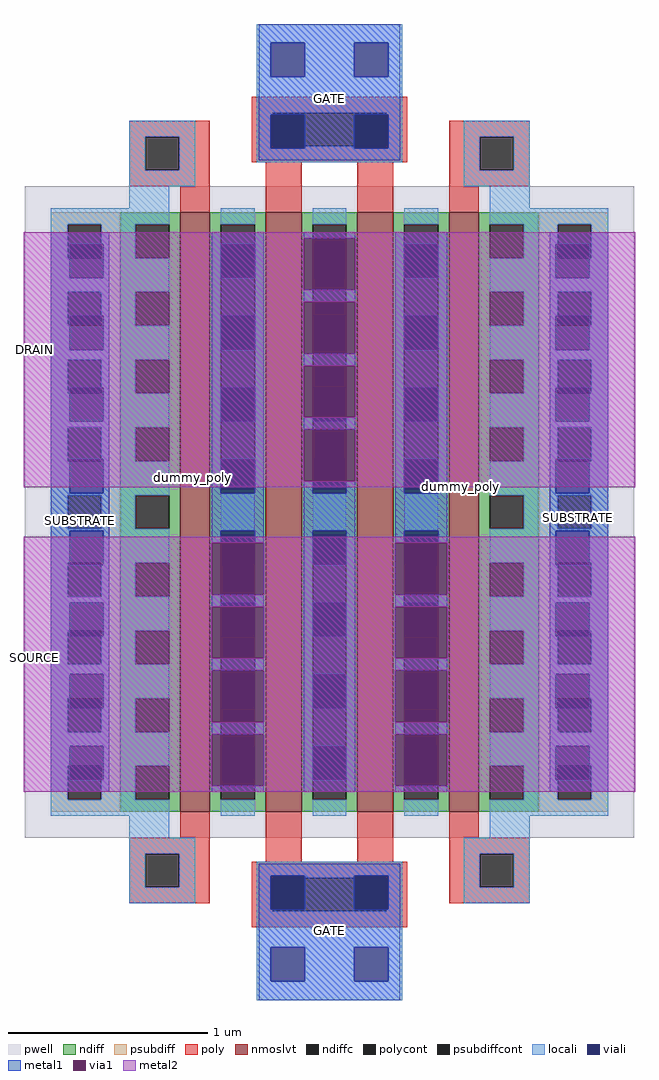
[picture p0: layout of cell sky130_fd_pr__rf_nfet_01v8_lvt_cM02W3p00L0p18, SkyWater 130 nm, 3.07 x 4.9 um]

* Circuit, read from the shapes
.subckt sky130_fd_pr__rf_nfet_01v8_lvt_cM02W3p00L0p18 GATE SUBSTRATE SOURCE DRAIN
XM1 SOURCE SUBSTRATE SUBSTRATE SUBSTRATE sky130_fd_pr__nfet_01v8_lvt w=3.01 l=0.15 m=2
XM2 DRAIN GATE SOURCE SUBSTRATE sky130_fd_pr__nfet_01v8_lvt w=3.01 l=0.18 m=2
.ends

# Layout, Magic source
magic
tech sky130A
magscale 1 2
<< pwell >>
rect 15 163 627 817
<< nmoslvt >>
rect 171 189 201 791
rect 257 189 293 791
rect 349 189 385 791
rect 441 189 471 791
<< ndiff >>
rect 111 779 171 791
rect 111 745 126 779
rect 160 745 171 779
rect 111 711 171 745
rect 111 677 126 711
rect 160 677 171 711
rect 111 643 171 677
rect 111 609 126 643
rect 160 609 171 643
rect 111 575 171 609
rect 111 541 126 575
rect 160 541 171 575
rect 111 507 171 541
rect 111 473 126 507
rect 160 473 171 507
rect 111 439 171 473
rect 111 405 126 439
rect 160 405 171 439
rect 111 371 171 405
rect 111 337 126 371
rect 160 337 171 371
rect 111 303 171 337
rect 111 269 126 303
rect 160 269 171 303
rect 111 235 171 269
rect 111 201 126 235
rect 160 201 171 235
rect 111 189 171 201
rect 201 779 257 791
rect 201 513 212 779
rect 246 513 257 779
rect 201 467 257 513
rect 201 201 212 467
rect 246 201 257 467
rect 201 189 257 201
rect 293 779 349 791
rect 293 513 304 779
rect 338 513 349 779
rect 293 467 349 513
rect 293 201 304 467
rect 338 201 349 467
rect 293 189 349 201
rect 385 779 441 791
rect 385 513 396 779
rect 430 513 441 779
rect 385 467 441 513
rect 385 201 396 467
rect 430 201 441 467
rect 385 189 441 201
rect 471 779 531 791
rect 471 745 482 779
rect 516 745 531 779
rect 471 711 531 745
rect 471 677 482 711
rect 516 677 531 711
rect 471 643 531 677
rect 471 609 482 643
rect 516 609 531 643
rect 471 575 531 609
rect 471 541 482 575
rect 516 541 531 575
rect 471 507 531 541
rect 471 473 482 507
rect 516 473 531 507
rect 471 439 531 473
rect 471 405 482 439
rect 516 405 531 439
rect 471 371 531 405
rect 471 337 482 371
rect 516 337 531 371
rect 471 303 531 337
rect 471 269 482 303
rect 516 269 531 303
rect 471 235 531 269
rect 471 201 482 235
rect 516 201 531 235
rect 471 189 531 201
<< ndiffc >>
rect 126 745 160 779
rect 126 677 160 711
rect 126 609 160 643
rect 126 541 160 575
rect 126 473 160 507
rect 126 405 160 439
rect 126 337 160 371
rect 126 269 160 303
rect 126 201 160 235
rect 212 513 246 779
rect 212 201 246 467
rect 304 513 338 779
rect 304 201 338 467
rect 396 513 430 779
rect 396 201 430 467
rect 482 745 516 779
rect 482 677 516 711
rect 482 609 516 643
rect 482 541 516 575
rect 482 473 516 507
rect 482 405 516 439
rect 482 337 516 371
rect 482 269 516 303
rect 482 201 516 235
<< psubdiff >>
rect 41 779 111 791
rect 41 745 58 779
rect 92 745 111 779
rect 41 711 111 745
rect 41 677 58 711
rect 92 677 111 711
rect 41 643 111 677
rect 41 609 58 643
rect 92 609 111 643
rect 41 575 111 609
rect 41 541 58 575
rect 92 541 111 575
rect 41 507 111 541
rect 41 473 58 507
rect 92 473 111 507
rect 41 439 111 473
rect 41 405 58 439
rect 92 405 111 439
rect 41 371 111 405
rect 41 337 58 371
rect 92 337 111 371
rect 41 303 111 337
rect 41 269 58 303
rect 92 269 111 303
rect 41 235 111 269
rect 41 201 58 235
rect 92 201 111 235
rect 41 189 111 201
rect 531 779 601 791
rect 531 745 550 779
rect 584 745 601 779
rect 531 711 601 745
rect 531 677 550 711
rect 584 677 601 711
rect 531 643 601 677
rect 531 609 550 643
rect 584 609 601 643
rect 531 575 601 609
rect 531 541 550 575
rect 584 541 601 575
rect 531 507 601 541
rect 531 473 550 507
rect 584 473 601 507
rect 531 439 601 473
rect 531 405 550 439
rect 584 405 601 439
rect 531 371 601 405
rect 531 337 550 371
rect 584 337 601 371
rect 531 303 601 337
rect 531 269 550 303
rect 584 269 601 303
rect 531 235 601 269
rect 531 201 550 235
rect 584 201 601 235
rect 531 189 601 201
<< psubdiffcont >>
rect 58 745 92 779
rect 58 677 92 711
rect 58 609 92 643
rect 58 541 92 575
rect 58 473 92 507
rect 58 405 92 439
rect 58 337 92 371
rect 58 269 92 303
rect 58 201 92 235
rect 550 745 584 779
rect 550 677 584 711
rect 550 609 584 643
rect 550 541 584 575
rect 550 473 584 507
rect 550 405 584 439
rect 550 337 584 371
rect 550 269 584 303
rect 550 201 584 235
<< poly >>
rect 243 891 399 907
rect 120 867 201 883
rect 120 833 136 867
rect 170 833 201 867
rect 243 857 264 891
rect 378 857 399 891
rect 243 841 399 857
rect 441 867 522 883
rect 120 817 201 833
rect 171 791 201 817
rect 257 791 293 841
rect 349 791 385 841
rect 441 833 472 867
rect 506 833 522 867
rect 441 817 522 833
rect 441 791 471 817
rect 171 163 201 189
rect 120 147 201 163
rect 120 113 136 147
rect 170 113 201 147
rect 257 139 293 189
rect 349 139 385 189
rect 441 163 471 189
rect 441 147 522 163
rect 120 97 201 113
rect 243 123 399 139
rect 243 89 264 123
rect 378 89 399 123
rect 441 113 472 147
rect 506 113 522 147
rect 441 97 522 113
rect 243 73 399 89
<< polycont >>
rect 136 833 170 867
rect 264 857 378 891
rect 472 833 506 867
rect 136 113 170 147
rect 264 89 378 123
rect 472 113 506 147
<< locali >>
rect 248 961 394 980
rect 248 927 262 961
rect 296 927 346 961
rect 380 927 394 961
rect 248 891 394 927
rect 248 889 264 891
rect 378 889 394 891
rect 120 867 186 883
rect 120 833 136 867
rect 170 833 186 867
rect 248 855 262 889
rect 296 855 346 857
rect 380 855 394 889
rect 248 841 394 855
rect 456 867 522 883
rect 120 817 186 833
rect 456 833 472 867
rect 506 833 522 867
rect 456 817 522 833
rect 120 795 160 817
rect 482 795 522 817
rect 41 779 160 795
rect 41 745 58 779
rect 92 759 126 779
rect 94 745 126 759
rect 41 725 60 745
rect 94 725 160 745
rect 41 711 160 725
rect 41 677 58 711
rect 92 687 126 711
rect 94 677 126 687
rect 41 653 60 677
rect 94 653 160 677
rect 41 643 160 653
rect 41 609 58 643
rect 92 615 126 643
rect 94 609 126 615
rect 41 581 60 609
rect 94 581 160 609
rect 41 575 160 581
rect 41 541 58 575
rect 92 543 126 575
rect 94 541 126 543
rect 41 509 60 541
rect 94 509 160 541
rect 41 507 160 509
rect 41 473 58 507
rect 92 473 126 507
rect 41 471 160 473
rect 41 439 60 471
rect 94 439 160 471
rect 41 405 58 439
rect 94 437 126 439
rect 92 405 126 437
rect 41 399 160 405
rect 41 371 60 399
rect 94 371 160 399
rect 41 337 58 371
rect 94 365 126 371
rect 92 337 126 365
rect 41 327 160 337
rect 41 303 60 327
rect 94 303 160 327
rect 41 269 58 303
rect 94 293 126 303
rect 92 269 126 293
rect 41 255 160 269
rect 41 235 60 255
rect 94 235 160 255
rect 41 201 58 235
rect 94 221 126 235
rect 92 201 126 221
rect 41 185 160 201
rect 212 779 246 795
rect 212 471 246 509
rect 212 185 246 201
rect 304 779 338 795
rect 304 471 338 509
rect 304 185 338 201
rect 396 779 430 795
rect 396 471 430 509
rect 396 185 430 201
rect 482 779 601 795
rect 516 759 550 779
rect 516 745 548 759
rect 584 745 601 779
rect 482 725 548 745
rect 582 725 601 745
rect 482 711 601 725
rect 516 687 550 711
rect 516 677 548 687
rect 584 677 601 711
rect 482 653 548 677
rect 582 653 601 677
rect 482 643 601 653
rect 516 615 550 643
rect 516 609 548 615
rect 584 609 601 643
rect 482 581 548 609
rect 582 581 601 609
rect 482 575 601 581
rect 516 543 550 575
rect 516 541 548 543
rect 584 541 601 575
rect 482 509 548 541
rect 582 509 601 541
rect 482 507 601 509
rect 516 473 550 507
rect 584 473 601 507
rect 482 471 601 473
rect 482 439 548 471
rect 582 439 601 471
rect 516 437 548 439
rect 516 405 550 437
rect 584 405 601 439
rect 482 399 601 405
rect 482 371 548 399
rect 582 371 601 399
rect 516 365 548 371
rect 516 337 550 365
rect 584 337 601 371
rect 482 327 601 337
rect 482 303 548 327
rect 582 303 601 327
rect 516 293 548 303
rect 516 269 550 293
rect 584 269 601 303
rect 482 255 601 269
rect 482 235 548 255
rect 582 235 601 255
rect 516 221 548 235
rect 516 201 550 221
rect 584 201 601 235
rect 482 185 601 201
rect 120 163 160 185
rect 482 163 522 185
rect 120 147 186 163
rect 120 113 136 147
rect 170 113 186 147
rect 456 147 522 163
rect 120 97 186 113
rect 248 125 394 139
rect 248 91 262 125
rect 296 123 346 125
rect 380 91 394 125
rect 456 113 472 147
rect 506 113 522 147
rect 456 97 522 113
rect 248 89 264 91
rect 378 89 394 91
rect 248 53 394 89
rect 248 19 262 53
rect 296 19 346 53
rect 380 19 394 53
rect 248 0 394 19
<< viali >>
rect 262 927 296 961
rect 346 927 380 961
rect 262 857 264 889
rect 264 857 296 889
rect 346 857 378 889
rect 378 857 380 889
rect 262 855 296 857
rect 346 855 380 857
rect 60 745 92 759
rect 92 745 94 759
rect 60 725 94 745
rect 60 677 92 687
rect 92 677 94 687
rect 60 653 94 677
rect 60 609 92 615
rect 92 609 94 615
rect 60 581 94 609
rect 60 541 92 543
rect 92 541 94 543
rect 60 509 94 541
rect 60 439 94 471
rect 60 437 92 439
rect 92 437 94 439
rect 60 371 94 399
rect 60 365 92 371
rect 92 365 94 371
rect 60 303 94 327
rect 60 293 92 303
rect 92 293 94 303
rect 60 235 94 255
rect 60 221 92 235
rect 92 221 94 235
rect 212 725 246 759
rect 212 653 246 687
rect 212 581 246 615
rect 212 513 246 543
rect 212 509 246 513
rect 212 467 246 471
rect 212 437 246 467
rect 212 365 246 399
rect 212 293 246 327
rect 212 221 246 255
rect 304 725 338 759
rect 304 653 338 687
rect 304 581 338 615
rect 304 513 338 543
rect 304 509 338 513
rect 304 467 338 471
rect 304 437 338 467
rect 304 365 338 399
rect 304 293 338 327
rect 304 221 338 255
rect 396 725 430 759
rect 396 653 430 687
rect 396 581 430 615
rect 396 513 430 543
rect 396 509 430 513
rect 396 467 430 471
rect 396 437 430 467
rect 396 365 430 399
rect 396 293 430 327
rect 396 221 430 255
rect 548 745 550 759
rect 550 745 582 759
rect 548 725 582 745
rect 548 677 550 687
rect 550 677 582 687
rect 548 653 582 677
rect 548 609 550 615
rect 550 609 582 615
rect 548 581 582 609
rect 548 541 550 543
rect 550 541 582 543
rect 548 509 582 541
rect 548 439 582 471
rect 548 437 550 439
rect 550 437 582 439
rect 548 371 582 399
rect 548 365 550 371
rect 550 365 582 371
rect 548 303 582 327
rect 548 293 550 303
rect 550 293 582 303
rect 548 235 582 255
rect 548 221 550 235
rect 550 221 582 235
rect 262 123 296 125
rect 346 123 380 125
rect 262 91 264 123
rect 264 91 296 123
rect 346 91 378 123
rect 378 91 380 123
rect 262 19 296 53
rect 346 19 380 53
<< metal1 >>
rect 250 961 392 980
rect 250 927 262 961
rect 296 927 346 961
rect 380 927 392 961
rect 250 889 392 927
rect 250 855 262 889
rect 296 855 346 889
rect 380 855 392 889
rect 250 843 392 855
rect 41 759 100 771
rect 41 725 60 759
rect 94 725 100 759
rect 41 687 100 725
rect 41 653 60 687
rect 94 653 100 687
rect 41 615 100 653
rect 41 581 60 615
rect 94 581 100 615
rect 41 543 100 581
rect 41 509 60 543
rect 94 509 100 543
rect 41 471 100 509
rect 41 437 60 471
rect 94 437 100 471
rect 41 399 100 437
rect 41 365 60 399
rect 94 365 100 399
rect 41 327 100 365
rect 41 293 60 327
rect 94 293 100 327
rect 41 255 100 293
rect 41 221 60 255
rect 94 221 100 255
rect 41 209 100 221
rect 203 759 255 771
rect 203 725 212 759
rect 246 725 255 759
rect 203 687 255 725
rect 203 653 212 687
rect 246 653 255 687
rect 203 615 255 653
rect 203 581 212 615
rect 246 581 255 615
rect 203 543 255 581
rect 203 509 212 543
rect 246 509 255 543
rect 203 471 255 509
rect 203 459 212 471
rect 246 459 255 471
rect 203 399 255 407
rect 203 395 212 399
rect 246 395 255 399
rect 203 331 255 343
rect 203 267 255 279
rect 203 209 255 215
rect 295 765 347 771
rect 295 701 347 713
rect 295 637 347 649
rect 295 581 304 585
rect 338 581 347 585
rect 295 573 347 581
rect 295 509 304 521
rect 338 509 347 521
rect 295 471 347 509
rect 295 437 304 471
rect 338 437 347 471
rect 295 399 347 437
rect 295 365 304 399
rect 338 365 347 399
rect 295 327 347 365
rect 295 293 304 327
rect 338 293 347 327
rect 295 255 347 293
rect 295 221 304 255
rect 338 221 347 255
rect 295 209 347 221
rect 387 759 439 771
rect 387 725 396 759
rect 430 725 439 759
rect 387 687 439 725
rect 387 653 396 687
rect 430 653 439 687
rect 387 615 439 653
rect 387 581 396 615
rect 430 581 439 615
rect 387 543 439 581
rect 387 509 396 543
rect 430 509 439 543
rect 387 471 439 509
rect 387 459 396 471
rect 430 459 439 471
rect 387 399 439 407
rect 387 395 396 399
rect 430 395 439 399
rect 387 331 439 343
rect 387 267 439 279
rect 387 209 439 215
rect 542 759 601 771
rect 542 725 548 759
rect 582 725 601 759
rect 542 687 601 725
rect 542 653 548 687
rect 582 653 601 687
rect 542 615 601 653
rect 542 581 548 615
rect 582 581 601 615
rect 542 543 601 581
rect 542 509 548 543
rect 582 509 601 543
rect 542 471 601 509
rect 542 437 548 471
rect 582 437 601 471
rect 542 399 601 437
rect 542 365 548 399
rect 582 365 601 399
rect 542 327 601 365
rect 542 293 548 327
rect 582 293 601 327
rect 542 255 601 293
rect 542 221 548 255
rect 582 221 601 255
rect 542 209 601 221
rect 250 125 392 137
rect 250 91 262 125
rect 296 91 346 125
rect 380 91 392 125
rect 250 53 392 91
rect 250 19 262 53
rect 296 19 346 53
rect 380 19 392 53
rect 250 0 392 19
<< via1 >>
rect 203 437 212 459
rect 212 437 246 459
rect 246 437 255 459
rect 203 407 255 437
rect 203 365 212 395
rect 212 365 246 395
rect 246 365 255 395
rect 203 343 255 365
rect 203 327 255 331
rect 203 293 212 327
rect 212 293 246 327
rect 246 293 255 327
rect 203 279 255 293
rect 203 255 255 267
rect 203 221 212 255
rect 212 221 246 255
rect 246 221 255 255
rect 203 215 255 221
rect 295 759 347 765
rect 295 725 304 759
rect 304 725 338 759
rect 338 725 347 759
rect 295 713 347 725
rect 295 687 347 701
rect 295 653 304 687
rect 304 653 338 687
rect 338 653 347 687
rect 295 649 347 653
rect 295 615 347 637
rect 295 585 304 615
rect 304 585 338 615
rect 338 585 347 615
rect 295 543 347 573
rect 295 521 304 543
rect 304 521 338 543
rect 338 521 347 543
rect 387 437 396 459
rect 396 437 430 459
rect 430 437 439 459
rect 387 407 439 437
rect 387 365 396 395
rect 396 365 430 395
rect 430 365 439 395
rect 387 343 439 365
rect 387 327 439 331
rect 387 293 396 327
rect 396 293 430 327
rect 430 293 439 327
rect 387 279 439 293
rect 387 255 439 267
rect 387 221 396 255
rect 396 221 430 255
rect 430 221 439 255
rect 387 215 439 221
<< metal2 >>
rect 14 765 628 771
rect 14 713 295 765
rect 347 713 628 765
rect 14 701 628 713
rect 14 649 295 701
rect 347 649 628 701
rect 14 637 628 649
rect 14 585 295 637
rect 347 585 628 637
rect 14 573 628 585
rect 14 521 295 573
rect 347 521 628 573
rect 14 515 628 521
rect 14 459 628 465
rect 14 407 203 459
rect 255 407 387 459
rect 439 407 628 459
rect 14 395 628 407
rect 14 343 203 395
rect 255 343 387 395
rect 439 343 628 395
rect 14 331 628 343
rect 14 279 203 331
rect 255 279 387 331
rect 439 279 628 331
rect 14 267 628 279
rect 14 215 203 267
rect 255 215 387 267
rect 439 215 628 267
rect 14 209 628 215
<< labels >>
flabel comment s 183 525 183 525 0 FreeSans 180 90 0 0 dummy_poly
flabel comment s 453 516 453 516 0 FreeSans 180 90 0 0 dummy_poly
flabel metal1 s 255 44 386 95 0 FreeSans 200 0 0 0 GATE
port 1 nsew
flabel metal1 s 255 880 386 931 0 FreeSans 200 0 0 0 GATE
port 1 nsew
flabel metal1 s 41 466 100 496 0 FreeSans 200 90 0 0 SUBSTRATE
port 2 nsew
flabel metal1 s 542 469 601 499 0 FreeSans 200 90 0 0 SUBSTRATE
port 2 nsew
flabel metal2 s 14 280 35 408 7 FreeSans 300 180 0 0 SOURCE
port 3 nsew
flabel metal2 s 14 589 35 717 7 FreeSans 300 180 0 0 DRAIN
port 4 nsew
<< properties >>
string GDS_FILE $PDKPATH/libs.ref/sky130_fd_pr/gds/sky130_fd_pr.gds
string GDS_END 6570008
string GDS_START 6557144
<< end >>
